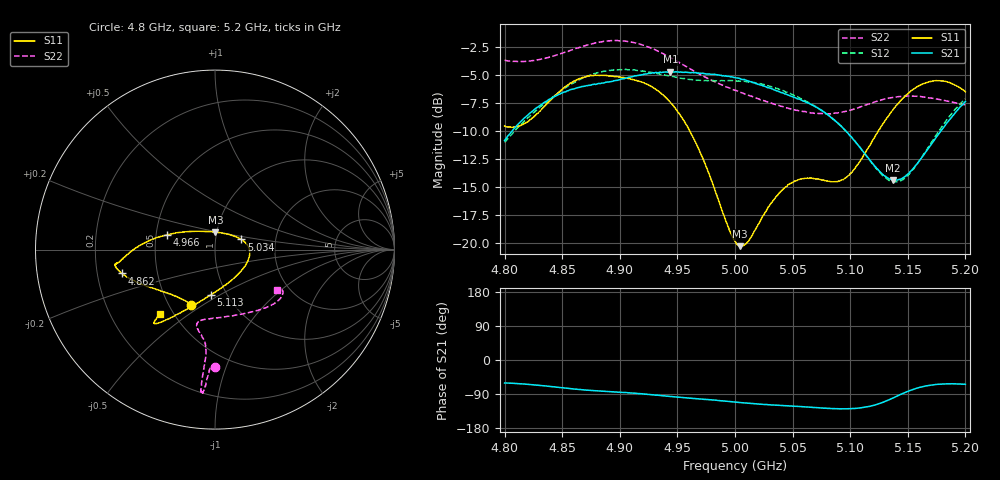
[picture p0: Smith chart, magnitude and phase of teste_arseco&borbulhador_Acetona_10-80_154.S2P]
! Network Analyzer HP8722D
! Hewlett-Packard
! Data name: Linha & Wilkinson
! Saver's name: Rodrigo Anjos
! Comments: Teste da utilização de aquisição
! continua pelo VNA HP8722D
! Time and date: 17/4/2025 15:38
!  Frequency  S11  S21  S12  S22
# HZ  S  MA R 50
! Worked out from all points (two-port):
!   401 points, 4.8 GHz to 5.2 GHz, reference 50 ohm
!   highest |S21| = -4.67 dB at 4.944 GHz (marker M1); lowest = -14.4 dB at 5.137 GHz (marker M2)
!   |S21| within 3 dB of the highest: 4.831 GHz to 5.067 GHz (236.4 MHz wide, 4.78 % of centre); 5.19691 GHz to end of sweep
!   lowest |S11| = -20.3 dB at 5.004 GHz (marker M3), VSWR 1.21, Z = 49.3 + j9.64 ohm
!   |S11| at or under -10 dB: 4.961 GHz to 5.124 GHz (163.4 MHz wide, 3.24 % of centre)
!   |S22| runs from -8.4 to -1.9 dB; largest |S21 - S12| = 0.88
!   S11 on the Smith chart (normalised r, x): 4.8 GHz: 0.65, -0.45; 4.862 GHz: 0.31, -0.11; 4.966 GHz: 0.57, +0.10; 5.034 GHz: 1.33, +0.15; 5.113 GHz: 0.84, -0.45; 5.2 GHz: 0.42, -0.39
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4.8e9  0.334 -113.2  0.2873 -60.8  0.2819 -175.0  0.6567 -89.9
4.819e9  0.3465 -133.1  0.3693 -63.9  0.3577 -173.5  0.6505 -91.6
4.862e9  0.5352 -165.7  0.4932 -76.8  0.5282 -176.7  0.7424 -93.7
4.867e9  0.5482 -167.5  0.501 -78.6  0.5436 -177.7  0.7558 -93.9
4.902e9  0.5502 -172.2  0.542 -85.5  0.5963 175.1  0.8033 -95.4
4.934e9  0.4763 -178.0  0.5789 -93.5  0.5724 171.9  0.7177 -95.6
4.944e9  0.4261 177.4  0.5839 -96.2  0.5562 171.9  0.6758 -95.4
4.966e9  0.2806 163.0  0.5781 -102.0  0.5352 173.9  0.581 -95.0
5e9  0.1021 102.1  0.5494 -111.0  0.5323 176.3  0.482 -99.0
5.004e9  0.09686 88.4  0.545 -112.2  0.5296 176.3  0.4738 -99.9
5.012e9  0.1025 61.8  0.5292 -114.2  0.5243 176.0  0.4579 -101.8
5.034e9  0.1569 21.0  0.4837 -119.2  0.4947 175.0  0.418 -103.4
5.048e9  0.1848 6.8  0.4551 -121.3  0.466 174.2  0.3985 -100.4
5.067e9  0.1948 -13.4  0.4141 -124.9  0.4161 173.7  0.3819 -90.8
5.093e9  0.1917 -57.6  0.3299 -128.7  0.3288 174.3  0.3849 -70.6
5.113e9  0.2528 -95.0  0.2496 -124.7  0.2494 180.0  0.4139 -55.0
5.134e9  0.3754 -116.3  0.1934 -104.7  0.1902 -157.5  0.4454 -43.0
5.137e9  0.3933 -118.1  0.1908 -100.6  0.188 -152.8  0.448 -41.6
5.15e9  0.4648 -124.0  0.2032 -83.0  0.2009 -132.5  0.4545 -36.6
5.168e9  0.5254 -128.3  0.2657 -67.4  0.2691 -113.6  0.4461 -32.2
5.184e9  0.5257 -130.0  0.3451 -62.9  0.3562 -107.1  0.4318 -31.0
5.2e9  0.4747 -130.4  0.4293 -64.2  0.4416 -106.3  0.4146 -33.3
